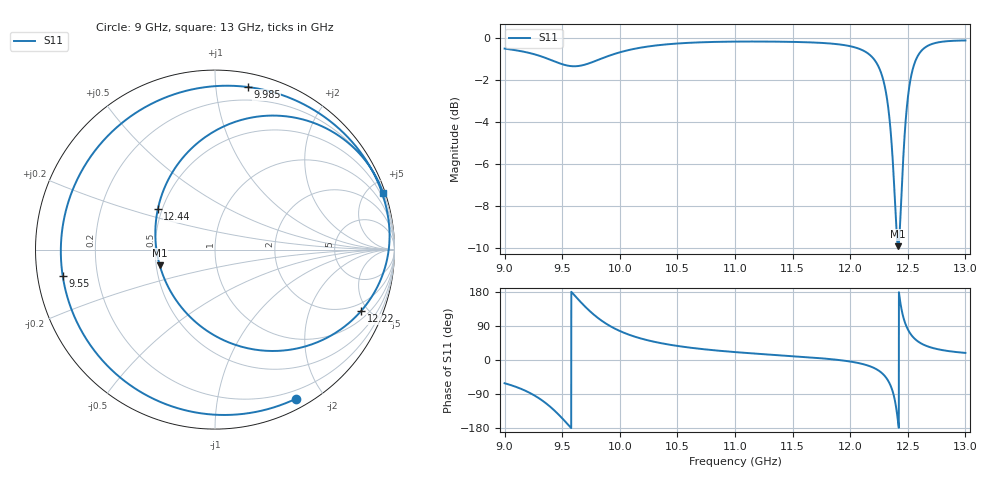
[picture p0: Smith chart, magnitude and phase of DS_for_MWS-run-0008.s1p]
! TOUCHSTONE file generated by CST DESIGN STUDIO
! Date and time: Tue Feb  4 13:09:10 2025
! Project name: C:\Work\MatlabApps\UnitCellOptimizationMatlab\CST\unitcell.cst
! Tree item: Tasks\Sweep1\SPara1\S-Parameters
! Header version: 2024
! Port assignment regex: !\s*Touchstone port\s*([0-9]+)\s*=\s*(CST MWS port|CST DES external port|CST DES block port)\s*(.+)\s* \(\"(.*)\"\)(\s*mode\s*([0-9]+))?.*
! Touchstone port assignment:
! Touchstone port 1 = CST DES external port 1 ("")
# GHz S MA R 50
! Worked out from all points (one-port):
!   4001 points, 9 GHz to 13 GHz, reference 50 ohm
!   lowest |S11| = -9.9 dB at 12.42 GHz (marker M1), VSWR 1.94, Z = 26.1 - j5.08 ohm
!   |S11| at or under -10 dB: nowhere
!   S11 on the Smith chart (normalised r, x): 9 GHz: 0.11, -1.68; 9.55 GHz: 0.08, -0.09; 9.985 GHz: 0.10, +1.22; 12.22 GHz: 1.45, -4.50; 12.44 GHz: 0.47, +0.25; 13 GHz: 0.21, +6.07
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9  0.9457 -61.3
9.157  0.9307 -78.0
9.307  0.9082 -102.7
9.405  0.8878 -125.8
9.5  0.8681 -153.8
9.55  0.8611 -170.2
9.643  0.8598 158.5
9.76  0.8777 123.5
9.86  0.8995 100.1
9.985  0.924 78.7
10  0.9266 76.6
10.216  0.954 54.1
10.5  0.9724 37.1
11  0.9826 20.9
11.5  0.9811 10.2
12  0.9581 -4.1
12.219  0.8825 -22.9
12.292  0.7865 -39.4
12.35  0.6066 -67.2
12.383  0.4384 -99.5
12.416  0.3202 -164.2
12.439  0.3898 144.9
12.47  0.5745 103.8
12.5  0.7206 81.0
12.567  0.8849 54.1
12.652  0.9523 38.3
12.782  0.9805 27.1
13  0.9888 18.7
